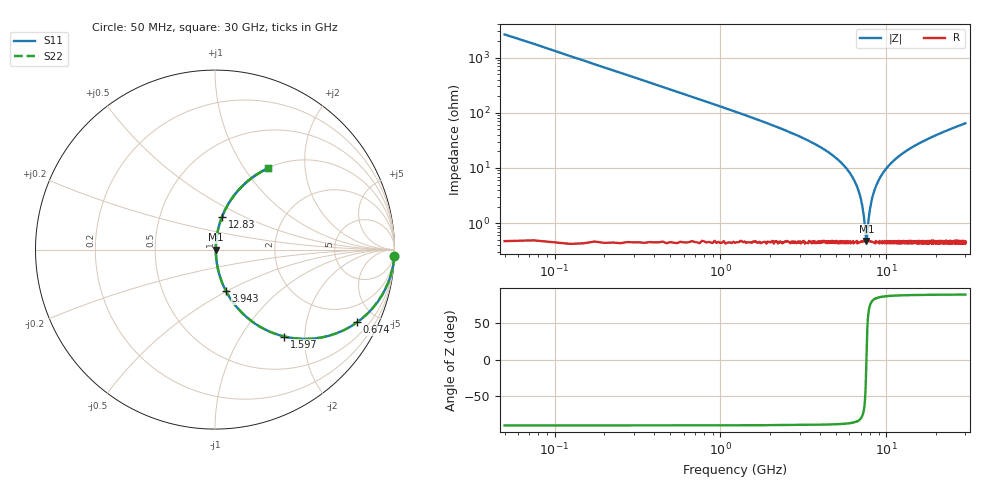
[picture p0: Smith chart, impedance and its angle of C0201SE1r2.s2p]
!	AVX Thin Film Operation 	Date: April 2014
!	Description: Accu-P® Series, Thin Film  SMD RF Capacitor
!	Part Number: 02015J1R2PBSTR
# MHZ S MA R 50
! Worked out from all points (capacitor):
!   1201 points, 50 MHz to 30 GHz, reference 50 ohm
!   read as one part in series: C = 1.2 pF near 199.8 MHz
!   lowest |Z| = 477 mohm at 7.587 GHz (marker M1)
!   series resonance near 7.59 GHz, so ESL is about 370 pH
!   S11 on the Smith chart (normalised r, x): 50 MHz: 1, -53; 674 MHz: 1.01, -3.90; 1.597 GHz: 1.01, -1.59; 3.943 GHz: 1.01, -0.49; 12.83 GHz: 1.01, +0.38; 30 GHz: 1.01, +1.29
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50  0.999 -2.2  0.038 87.8  0.038 87.8  0.999 -2.2
324.542  0.971 -13.8  0.238 76.2  0.238 76.2  0.971 -13.8
673.958  0.889 -27.1  0.455 62.8  0.455 62.8  0.889 -27.1
1597.417  0.62 -51.4  0.781 38.3  0.781 38.3  0.62 -51.4
2545.833  0.418 -64.7  0.904 24.7  0.904 24.7  0.418 -64.7
3943.5  0.237 -75.2  0.967 13.7  0.967 13.7  0.237 -75.2
5041.667  0.145 -79.9  0.985 8.3  0.985 8.3  0.145 -79.9
6089.917  0.077 -82.2  0.993 4.4  0.993 4.4  0.077 -82.2
6788.75  0.039 -81.2  0.995 2.2  0.995 2.2  0.039 -81.2
7163.125  0.021 -76.2  0.995 1.2  0.995 1.2  0.021 -76.2
7487.583  0.006515 -46.0  0.995 0.3  0.995 0.3  0.006515 -46.0
7587.417  0.004501 -1.3  0.995 0.0  0.995 0.0  0.004501 -1.3
7687.25  0.006325 44.4  0.995 -0.3  0.995 -0.3  0.006325 44.4
8036.667  0.02 76.1  0.995 -1.1  0.995 -1.1  0.02 76.1
8411.042  0.036 80.8  0.995 -2.1  0.995 -2.1  0.036 80.8
9134.833  0.065 82.3  0.993 -3.7  0.993 -3.7  0.065 82.3
10058.29  0.099 81.7  0.991 -5.7  0.991 -5.7  0.099 81.7
12828.67  0.188 77.8  0.978 -10.8  0.978 -10.8  0.188 77.8
15025  0.249 74.6  0.964 -14.4  0.964 -14.4  0.249 74.6
20016.67  0.366 67.9  0.927 -21.4  0.927 -21.4  0.366 67.9
25033.29  0.462 62.0  0.883 -27.5  0.883 -27.5  0.462 62.0
30000  0.541 56.8  0.837 -32.8  0.837 -32.8  0.541 56.8
